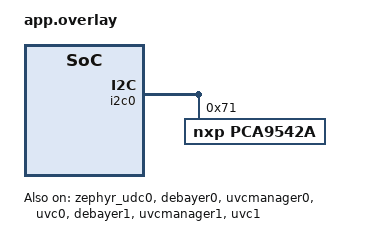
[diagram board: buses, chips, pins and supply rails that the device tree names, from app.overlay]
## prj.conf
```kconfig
CONFIG_MINIMAL_LIBC=y
CONFIG_ASSERT=y
CONFIG_SERIAL=y

# SHELL
CONFIG_SHELL=y
CONFIG_I2C_SHELL=y
CONFIG_KERNEL_SHELL=y
CONFIG_SHELL_BACKEND_SERIAL_API_INTERRUPT_DRIVEN=y
CONFIG_SHELL_BACKEND_SERIAL_TX_RING_BUFFER_SIZE=64

# USB
CONFIG_UDC_DRIVER=y
CONFIG_USB_DEVICE_STACK_NEXT=y
CONFIG_USBD_VIDEO_CLASS=y

# VIDEO
CONFIG_VIDEO=y
CONFIG_VIDEO_SHELL=y
CONFIG_VIDEO_SW_GENERATOR=y
CONFIG_VIDEO_BUFFER_POOL_SZ_MAX=2048

# I2C
# To support both addon adapter boards with the same firmware.
CONFIG_I2C_PCA9542A_IGNORE_FAILURE=y
CONFIG_I2C_LOG_LEVEL_WRN=y

# LOG
CONFIG_LOG=y
CONFIG_LOG_MODE_MINIMAL=y
CONFIG_UDC_DRIVER_LOG_LEVEL_INF=y
CONFIG_USBD_LOG_LEVEL_DBG=y
CONFIG_USBD_VIDEO_LOG_LEVEL_DBG=y
CONFIG_VIDEO_LOG_LEVEL_DBG=y
CONFIG_MINIMAL_LIBC_STRING_ERROR_TABLE=y
```

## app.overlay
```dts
/*
 * Copyright (c) 2024-2025 tinyVision.ai Inc.
 *
 * SPDX-License-Identifier: Apache-2.0
 */

/ {
	chosen {
		zephyr,shell-uart = &cdc_acm_0;
	};
};

&i2c0 {
	status = "okay";

	pca9542a@71 {
		compatible = "nxp,pca9542a";
		reg = <0x71>;
		#address-cells = <1>;
		#size-cells = <0>;

		ch@0 {
			compatible = "nxp,pca9542a-channel";
			reg = <0>;
			#address-cells = <1>;
			#size-cells = <0>;

			imx219ch0: imx219ch0@10 {
				compatible = "sony,imx219";
				reg = <0x10>;

				port {
					imx219ch0_ep_out: endpoint {
						remote-endpoint-label = "debayer0_ep_in";
					};
				};
			};
		};

		ch@1 {
			compatible = "nxp,pca9542a-channel";
			reg = <1>;
			#address-cells = <1>;
			#size-cells = <0>;

			imx219ch1: imx219ch1@10 {
				compatible = "sony,imx219";
				reg = <0x10>;

				port {
					imx219ch1_ep_out: endpoint {
						remote-endpoint-label = "debayer1_ep_in";
					};
				};
			};
		};
	};
};

&zephyr_udc0 {
	num-in-endpoints = <5>;
	num-out-endpoints = <2>;
	status = "okay";

	cdc_acm_0: cdc_acm_0 {
		compatible = "zephyr,cdc-acm-uart";
	};
};

/* Stream 0 */

&debayer0 {
	status = "okay";
};

&debayer0_ep_in {
	remote-endpoint-label = "imx219ch0_ep_out";
};

&uvcmanager0 {
	status = "okay";
	usb-endpoint = <0x83>;
};

&uvc0 {
	status = "okay";
};

/* Stream 1 */

&debayer1 {
	status = "okay";
};

&debayer1_ep_in {
	remote-endpoint-label = "imx219ch1_ep_out";
};

&uvcmanager1 {
	status = "okay";
	usb-endpoint = <0x84>;
};

&uvc1 {
	status = "okay";
};
```

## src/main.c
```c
#include <zephyr/drivers/video.h>
#include <zephyr/drivers/video-controls.h>
#include <zephyr/usb/class/usbd_uvc.h>
#include <zephyr/logging/log.h>

LOG_MODULE_REGISTER(app_main, LOG_LEVEL_INF);

static const struct device *const uvc0_dev = DEVICE_DT_GET(DT_NODELABEL(uvc0));
static const struct device *const uvc1_dev = DEVICE_DT_GET(DT_NODELABEL(uvc1));
static const struct device *const source0_dev = DEVICE_DT_GET(DT_NODELABEL(debayer0));
static const struct device *const source1_dev = DEVICE_DT_GET(DT_NODELABEL(debayer1));

int app_usb_init(void);

int main(void)
{
	int ret;

	uvc_set_video_dev(uvc0_dev, source0_dev);
	uvc_set_video_dev(uvc1_dev, source1_dev);

	ret = app_usb_init();
	if (ret != 0) {
		LOG_ERR("Failed to initialize USB");
		return ret;
	}

	ret = video_set_ctrl(source0_dev, VIDEO_CID_GAIN, (void *)555);
	if (ret != 0) {
		LOG_ERR("Cannot set the default gain for %s", source0_dev->name);
		return ret;
	}

	ret = video_set_ctrl(source1_dev, VIDEO_CID_GAIN, (void *)555);
	if (ret != 0) {
		LOG_ERR("Cannot set the default gain for %s", source1_dev->name);
		return ret;
	}

	return 0;
}
```
